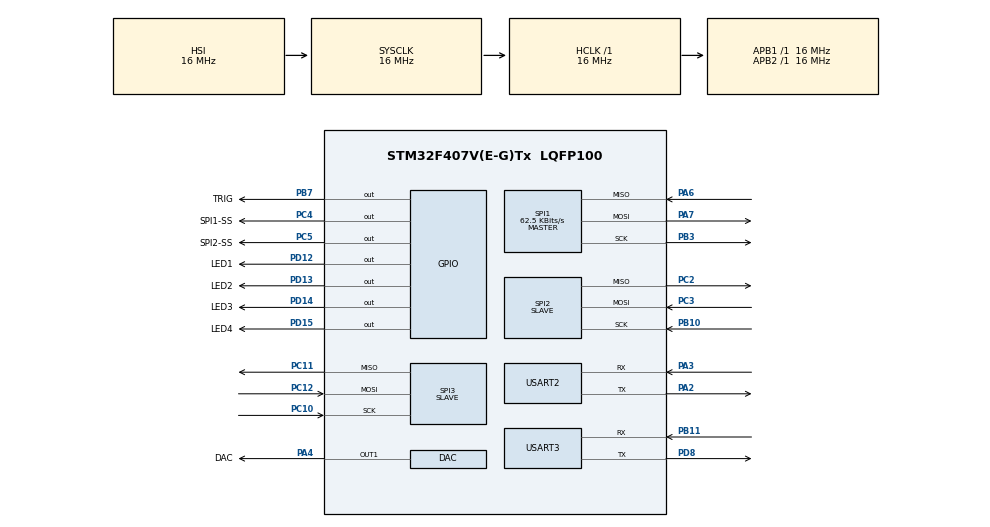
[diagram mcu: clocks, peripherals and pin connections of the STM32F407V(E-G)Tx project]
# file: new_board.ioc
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FREERTOS.Tasks01=defaultTask,0,128,StartDefaultTask,Default,NULL,Dynamic,NULL,NULL;myTask02,-3,128,StartTask02,Default,NULL,Dynamic,NULL,NULL;myTask03,-3,128,StartTask03,Default,NULL,Dynamic,NULL,NULL
Mcu.Family=STM32F4
Mcu.Name=STM32F407V(E-G)Tx
Mcu.Package=LQFP100
NVIC.PriorityGroup=NVIC_PRIORITYGROUP_4
NVIC.TIM1_UP_TIM10_IRQn=true\:0\:0\:false\:false\:true\:false\:false
NVIC.TimeBase=TIM1_UP_TIM10_IRQn
NVIC.TimeBaseIP=TIM1
PA13.Mode=Serial_Wire
PA13.Signal=SYS_JTMS-SWDIO
PA14.Mode=Serial_Wire
PA14.Signal=SYS_JTCK-SWCLK
PA2.Mode=Asynchronous
PA2.Signal=USART2_TX
PA3.Mode=Asynchronous
PA3.Signal=USART2_RX
PA4.GPIO_Label=DAC
PA4.Signal=COMP_DAC1_group
PA6.Mode=Full_Duplex_Master
PA6.Signal=SPI1_MISO
PA7.Mode=Full_Duplex_Master
PA7.Signal=SPI1_MOSI
PB10.Mode=Full_Duplex_Slave
PB10.Signal=SPI2_SCK
PB11.Mode=Asynchronous
PB11.Signal=USART3_RX
PB3.Mode=Full_Duplex_Master
PB3.Signal=SPI1_SCK
PB7.GPIO_Label=TRIG
PB7.GPIO_PuPd=GPIO_PULLUP
PB7.Signal=GPIO_Output
PC10.Mode=Full_Duplex_Slave
PC10.Signal=SPI3_SCK
PC11.Mode=Full_Duplex_Slave
PC11.Signal=SPI3_MISO
PC12.Mode=Full_Duplex_Slave
PC12.Signal=SPI3_MOSI
PC2.Mode=Full_Duplex_Slave
PC2.Signal=SPI2_MISO
PC3.Mode=Full_Duplex_Slave
PC3.Signal=SPI2_MOSI
PC4.GPIO_Label=SPI1-SS
PC4.GPIO_PuPd=GPIO_PULLUP
PC4.GPIO_Speed=GPIO_SPEED_FREQ_HIGH
PC4.Signal=GPIO_Output
PC5.GPIO_Label=SPI2-SS
PC5.GPIO_PuPd=GPIO_PULLUP
PC5.GPIO_Speed=GPIO_SPEED_FREQ_HIGH
PC5.Signal=GPIO_Output
PD12.GPIO_Label=LED1
PD12.GPIO_PuPd=GPIO_NOPULL
PD12.Signal=GPIO_Output
PD13.GPIO_Label=LED2
PD13.GPIO_PuPd=GPIO_PULLUP
PD13.Signal=GPIO_Output
PD14.GPIO_Label=LED3
PD14.GPIO_PuPd=GPIO_NOPULL
PD14.Signal=GPIO_Output
PD15.GPIO_Label=LED4
PD15.GPIO_PuPd=GPIO_NOPULL
PD15.Signal=GPIO_Output
PD8.Mode=Asynchronous
PD8.Signal=USART3_TX
ProjectManager.HeapSize=0x200
ProjectManager.StackSize=0x400
ProjectManager.TargetToolchain=TrueSTUDIO
RCC.AHBFreq_Value=16000000
RCC.APB1Freq_Value=16000000
RCC.APB2Freq_Value=16000000
RCC.CortexFreq_Value=16000000
RCC.HSE_VALUE=25000000
RCC.HSI_VALUE=16000000
RCC.LSE_VALUE=32768
RCC.SYSCLKFreq_VALUE=16000000
RCC.VCOOutputFreq_Value=192000000
SH.COMP_DAC1_group.0=DAC_OUT1,DAC_OUT1
SPI1.BaudRatePrescaler=SPI_BAUDRATEPRESCALER_256
SPI1.CLKPhase=SPI_PHASE_2EDGE
SPI1.CLKPolarity=SPI_POLARITY_HIGH
SPI1.CalculateBaudRate=62.5 KBits/s
SPI1.Direction=SPI_DIRECTION_2LINES
SPI1.Mode=SPI_MODE_MASTER
SPI1.VirtualType=VM_MASTER
SPI2.Direction=SPI_DIRECTION_2LINES
SPI2.Mode=SPI_MODE_SLAVE
SPI2.VirtualType=VM_SLAVE
SPI3.Direction=SPI_DIRECTION_2LINES
SPI3.Mode=SPI_MODE_SLAVE
SPI3.VirtualType=VM_SLAVE
USART2.VirtualMode=VM_ASYNC
USART3.VirtualMode=VM_ASYNC
VP_FREERTOS_VS_ENABLE.Mode=Enabled
VP_SYS_VS_tim1.Mode=TIM1
board=custom

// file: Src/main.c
/* USER CODE BEGIN Header */
/**
  ******************************************************************************
  * @file           : main.c
  * @brief          : Main program body
  ******************************************************************************
  * This notice applies to any and all portions of this file
  * that are not between comment pairs USER CODE BEGIN and
  * USER CODE END. Other portions of this file, whether
  * inserted by the user or by software development tools
  * are owned by their respective copyright owners.
  *
  * Copyright (c) 2022 STMicroelectronics International N.V.
  * All rights reserved.
  *
  * Redistribution and use in source and binary forms, with or without
  * modification, are permitted, provided that the following conditions are met:
  *
  * 1. Redistribution of source code must retain the above copyright notice,
  *    this list of conditions and the following disclaimer.
  * 2. Redistributions in binary form must reproduce the above copyright notice,
  *    this list of conditions and the following disclaimer in the documentation
  *    and/or other materials provided with the distribution.
  * 3. Neither the name of STMicroelectronics nor the names of other
  *    contributors to this software may be used to endorse or promote products
  *    derived from this software without specific written permission.
  * 4. This software, including modifications and/or derivative works of this
  *    software, must execute solely and exclusively on microcontroller or
  *    microprocessor devices manufactured by or for STMicroelectronics.
  * 5. Redistribution and use of this software other than as permitted under
  *    this license is void and will automatically terminate your rights under
  *    this license.
  *
  * THIS SOFTWARE IS PROVIDED BY STMICROELECTRONICS AND CONTRIBUTORS "AS IS"
  * AND ANY EXPRESS, IMPLIED OR STATUTORY WARRANTIES, INCLUDING, BUT NOT
  * LIMITED TO, THE IMPLIED WARRANTIES OF MERCHANTABILITY, FITNESS FOR A
  * PARTICULAR PURPOSE AND NON-INFRINGEMENT OF THIRD PARTY INTELLECTUAL PROPERTY
  * RIGHTS ARE DISCLAIMED TO THE FULLEST EXTENT PERMITTED BY LAW. IN NO EVENT
  * SHALL STMICROELECTRONICS OR CONTRIBUTORS BE LIABLE FOR ANY DIRECT, INDIRECT,
  * INCIDENTAL, SPECIAL, EXEMPLARY, OR CONSEQUENTIAL DAMAGES (INCLUDING, BUT NOT
  * LIMITED TO, PROCUREMENT OF SUBSTITUTE GOODS OR SERVICES; LOSS OF USE, DATA,
  * OR PROFITS; OR BUSINESS INTERRUPTION) HOWEVER CAUSED AND ON ANY THEORY OF
  * LIABILITY, WHETHER IN CONTRACT, STRICT LIABILITY, OR TORT (INCLUDING
  * NEGLIGENCE OR OTHERWISE) ARISING IN ANY WAY OUT OF THE USE OF THIS SOFTWARE,
  * EVEN IF ADVISED OF THE POSSIBILITY OF SUCH DAMAGE.
  *
  ******************************************************************************
  */
/* USER CODE END Header */

#include "main.h"
#include "cmsis_os.h"
#include "dac.h"
#include "spi.h"
#include "usart.h"
#include "gpio.h"

void SystemClock_Config(void);
void MX_FREERTOS_Init(void);

int main(void)
{

  /* MCU Configuration--------------------------------------------------------*/

  /* Reset of all peripherals, Initializes the Flash interface and the Systick. */
  HAL_Init();

  /* Configure the system clock */
  SystemClock_Config();

  /* Initialize all configured peripherals */
  MX_GPIO_Init();
  MX_SPI1_Init();
  MX_DAC_Init();
  MX_USART2_UART_Init();
  MX_SPI2_Init();
  MX_USART3_UART_Init();
  MX_SPI3_Init();

  /* Call init function for freertos objects (in freertos.c) */
  MX_FREERTOS_Init();

  /* Start scheduler */
  osKernelStart();

  /* We should never get here as control is now taken by the scheduler */

  /* Infinite loop */
  while (1)
  {

  }
}

void SystemClock_Config(void)
{
  RCC_OscInitTypeDef RCC_OscInitStruct = {0};
  RCC_ClkInitTypeDef RCC_ClkInitStruct = {0};

  /**Configure the main internal regulator output voltage
  */
  __HAL_RCC_PWR_CLK_ENABLE();
  __HAL_PWR_VOLTAGESCALING_CONFIG(PWR_REGULATOR_VOLTAGE_SCALE1);
  /**Initializes the CPU, AHB and APB busses clocks
  */
  RCC_OscInitStruct.OscillatorType = RCC_OSCILLATORTYPE_HSI;
  RCC_OscInitStruct.HSIState = RCC_HSI_ON;
  RCC_OscInitStruct.HSICalibrationValue = RCC_HSICALIBRATION_DEFAULT;
  RCC_OscInitStruct.PLL.PLLState = RCC_PLL_NONE;
  if (HAL_RCC_OscConfig(&RCC_OscInitStruct) != HAL_OK)
  {
    Error_Handler();
  }
  /**Initializes the CPU, AHB and APB busses clocks
  */
  RCC_ClkInitStruct.ClockType = RCC_CLOCKTYPE_HCLK|RCC_CLOCKTYPE_SYSCLK
                              |RCC_CLOCKTYPE_PCLK1|RCC_CLOCKTYPE_PCLK2;
  RCC_ClkInitStruct.SYSCLKSource = RCC_SYSCLKSOURCE_HSI;
  RCC_ClkInitStruct.AHBCLKDivider = RCC_SYSCLK_DIV1;
  RCC_ClkInitStruct.APB1CLKDivider = RCC_HCLK_DIV1;
  RCC_ClkInitStruct.APB2CLKDivider = RCC_HCLK_DIV1;

  if (HAL_RCC_ClockConfig(&RCC_ClkInitStruct, FLASH_LATENCY_0) != HAL_OK)
  {
    Error_Handler();
  }
}

void HAL_TIM_PeriodElapsedCallback(TIM_HandleTypeDef *htim)
{
  if (htim->Instance == TIM1) {
    HAL_IncTick();
  }
}

void Error_Handler(void)
{
}

/************************ (C) COPYRIGHT STMicroelectronics *****END OF FILE****/

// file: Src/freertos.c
/* USER CODE BEGIN Header */
/**
  ******************************************************************************
  * File Name          : freertos.c
  * Description        : Code for freertos applications
  ******************************************************************************
  * This notice applies to any and all portions of this file
  * that are not between comment pairs USER CODE BEGIN and
  * USER CODE END. Other portions of this file, whether
  * inserted by the user or by software development tools
  * are owned by their respective copyright owners.
  *
  * Copyright (c) 2022 STMicroelectronics International N.V.
  * All rights reserved.
  *
  * Redistribution and use in source and binary forms, with or without
  * modification, are permitted, provided that the following conditions are met:
  *
  * 1. Redistribution of source code must retain the above copyright notice,
  *    this list of conditions and the following disclaimer.
  * 2. Redistributions in binary form must reproduce the above copyright notice,
  *    this list of conditions and the following disclaimer in the documentation
  *    and/or other materials provided with the distribution.
  * 3. Neither the name of STMicroelectronics nor the names of other
  *    contributors to this software may be used to endorse or promote products
  *    derived from this software without specific written permission.
  * 4. This software, including modifications and/or derivative works of this
  *    software, must execute solely and exclusively on microcontroller or
  *    microprocessor devices manufactured by or for STMicroelectronics.
  * 5. Redistribution and use of this software other than as permitted under
  *    this license is void and will automatically terminate your rights under
  *    this license.
  *
  * THIS SOFTWARE IS PROVIDED BY STMICROELECTRONICS AND CONTRIBUTORS "AS IS"
  * AND ANY EXPRESS, IMPLIED OR STATUTORY WARRANTIES, INCLUDING, BUT NOT
  * LIMITED TO, THE IMPLIED WARRANTIES OF MERCHANTABILITY, FITNESS FOR A
  * PARTICULAR PURPOSE AND NON-INFRINGEMENT OF THIRD PARTY INTELLECTUAL PROPERTY
  * RIGHTS ARE DISCLAIMED TO THE FULLEST EXTENT PERMITTED BY LAW. IN NO EVENT
  * SHALL STMICROELECTRONICS OR CONTRIBUTORS BE LIABLE FOR ANY DIRECT, INDIRECT,
  * INCIDENTAL, SPECIAL, EXEMPLARY, OR CONSEQUENTIAL DAMAGES (INCLUDING, BUT NOT
  * LIMITED TO, PROCUREMENT OF SUBSTITUTE GOODS OR SERVICES; LOSS OF USE, DATA,
  * OR PROFITS; OR BUSINESS INTERRUPTION) HOWEVER CAUSED AND ON ANY THEORY OF
  * LIABILITY, WHETHER IN CONTRACT, STRICT LIABILITY, OR TORT (INCLUDING
  * NEGLIGENCE OR OTHERWISE) ARISING IN ANY WAY OUT OF THE USE OF THIS SOFTWARE,
  * EVEN IF ADVISED OF THE POSSIBILITY OF SUCH DAMAGE.
  *
  ******************************************************************************
  */
/* USER CODE END Header */

#include "FreeRTOS.h"
#include "task.h"
#include "main.h"
#include "cmsis_os.h"

/* USER CODE BEGIN Includes */
#include "spi.h"
#include "usart.h"
/* USER CODE END Includes */

/* USER CODE BEGIN Variables */
#define DATA_SIZE 500
static 	uint8_t data[DATA_SIZE];
static 	uint8_t rdata[DATA_SIZE];

/* USER CODE END Variables */
osThreadId defaultTaskHandle;
osThreadId myTask02Handle;
osThreadId myTask03Handle;

void StartDefaultTask(void const * argument);
void StartTask02(void const * argument);
void StartTask03(void const * argument);

void MX_FREERTOS_Init(void); /* (MISRA C 2004 rule 8.1) */

void MX_FREERTOS_Init(void) {

  /* Create the thread(s) */
  /* definition and creation of defaultTask */
//  osThreadDef(defaultTask, StartDefaultTask, osPriorityNormal, 0, 128);
//  defaultTaskHandle = osThreadCreate(osThread(defaultTask), NULL);

  /* definition and creation of myTask02 */
  osThreadDef(myTask02, StartTask02, osPriorityIdle, 0, 128);
  myTask02Handle = osThreadCreate(osThread(myTask02), NULL);

  /* definition and creation of myTask03 */
//  osThreadDef(myTask03, StartTask03, osPriorityIdle, 0, 128);
//  myTask03Handle = osThreadCreate(osThread(myTask03), NULL);

}

void StartDefaultTask(void const * argument)
{

  /* USER CODE BEGIN StartDefaultTask */
/*
	MOSI	PA7
	SS		PC4
	SCLK	PB3
	TRIG	PB7
*/

	uint8_t *pData = data;
	uint16_t Size = DATA_SIZE;
	int ctr = 0;
	int i;
	uint8_t xbyte = 0x21;
	int menu_ptr = 0;
	uint32_t error = 0;

	HAL_StatusTypeDef ret;

	for(i = 0;i < DATA_SIZE/2;i++)
	{
		data[i] = xbyte;
		if(++xbyte > 0x7f)
			xbyte = 0x1f;
	}
	xbyte = 0x7f;
	for(i = DATA_SIZE/2;i < DATA_SIZE;i++)
	{
		data[i] = xbyte;
		if(--xbyte < 0x1f)
			xbyte = 0x7f;
	}
	/* Infinite loop */

	for(;;)
	{
		ret = HAL_SPI_TransmitReceive(&hspi2, &data[0], &rdata[0], Size, 2000);
		vTaskDelay(1);
		ret = HAL_UART_Transmit(&huart2, &rdata[0], Size, 100);
		vTaskDelay(1);
/*
		xbyte = '\r';
		HAL_UART_Transmit(&huart2, &xbyte, 1, 100);
		xbyte = '\n';
		HAL_UART_Transmit(&huart2, &xbyte, 1, 100);

		vTaskDelay(1);
		if(menu_ptr == 0)
		{
			HAL_GPIO_WritePin(GPIOD, LED1_Pin, GPIO_PIN_RESET);
			HAL_GPIO_WritePin(GPIOD, LED2_Pin, GPIO_PIN_SET);
			menu_ptr = 1;
		}else if(menu_ptr == 1)
		{
			HAL_GPIO_WritePin(GPIOD, LED2_Pin, GPIO_PIN_RESET);
			HAL_GPIO_WritePin(GPIOD, LED3_Pin, GPIO_PIN_SET);
			menu_ptr = 2;
		}else if(menu_ptr == 2)
		{
			HAL_GPIO_WritePin(GPIOD, LED3_Pin, GPIO_PIN_RESET);
			HAL_GPIO_WritePin(GPIOD, LED4_Pin, GPIO_PIN_SET);
			menu_ptr = 3;
		}else if(menu_ptr == 3)
		{
			HAL_GPIO_WritePin(GPIOD, LED4_Pin, GPIO_PIN_RESET);
			HAL_GPIO_WritePin(GPIOD, LED1_Pin, GPIO_PIN_SET);
			menu_ptr = 0;
		}
*/
	}
  /* USER CODE END StartDefaultTask */
}

void StartTask02(void const * argument)
{
  /* USER CODE BEGIN StartTask02 */
  /* Infinite loop */
	HAL_StatusTypeDef ret;
	int i,j;
	uint8_t *pData;
	uint16_t Size;
	int menu_ptr = 0;
	uint8_t xbyte = 0x21;

	for(i = 0;i < DATA_SIZE;i++)
	{
		data[i] = xbyte;
//		if(++xbyte > 0x7f)
//			xbyte = 0x1f;
	}

	pData = &data[0];
	Size = DATA_SIZE;
	vTaskDelay(1000);
	for(;;)
	{
		ret = HAL_UART_Receive(&huart3, pData, Size, 500);
		vTaskDelay(1);
		ret = HAL_UART_Transmit(&huart2, pData, Size, 100);
		vTaskDelay(1);

		if(menu_ptr == 0)
		{
			HAL_GPIO_WritePin(GPIOD, LED1_Pin, GPIO_PIN_RESET);
			HAL_GPIO_WritePin(GPIOD, LED2_Pin, GPIO_PIN_SET);
			menu_ptr = 1;
		}else if(menu_ptr == 1)
		{
			HAL_GPIO_WritePin(GPIOD, LED2_Pin, GPIO_PIN_RESET);
			HAL_GPIO_WritePin(GPIOD, LED3_Pin, GPIO_PIN_SET);
			menu_ptr = 2;
		}else if(menu_ptr == 2)
		{
			HAL_GPIO_WritePin(GPIOD, LED3_Pin, GPIO_PIN_RESET);
			HAL_GPIO_WritePin(GPIOD, LED4_Pin, GPIO_PIN_SET);
			menu_ptr = 3;
		}else if(menu_ptr == 3)
		{
			HAL_GPIO_WritePin(GPIOD, LED4_Pin, GPIO_PIN_RESET);
			HAL_GPIO_WritePin(GPIOD, LED1_Pin, GPIO_PIN_SET);
			menu_ptr = 0;
		}
	}
  /* USER CODE END StartTask02 */
}

void StartTask03(void const * argument)
{
  /* USER CODE BEGIN StartTask03 */
  /* Infinite loop */
	uint8_t *pData = data;
//	uint16_t Size = DATA_SIZE/100;
	uint16_t Size = 50;
	int ctr = 0;
	int i;
	uint8_t xbyte = 0x21;
	int menu_ptr = 0;
	uint32_t error = 0;

	HAL_StatusTypeDef ret;

	/* Infinite loop */

	for(i = 0;i < DATA_SIZE/2;i++)
	{
		data[i] = xbyte;
		if(++xbyte > 0x7f)
			xbyte = 0x1f;
	}
	xbyte = 0x7f;
	for(i = DATA_SIZE/2;i < DATA_SIZE;i++)
	{
		data[i] = xbyte;
		if(--xbyte < 0x1f)
			xbyte = 0x7f;
	}

	for(;;)
	{
		ret = HAL_SPI_TransmitReceive(&hspi2, &data[0], &rdata[0], Size, 2000);
		vTaskDelay(1);
//		ret = HAL_UART_Transmit(&huart2, &rdata[0], Size, 100);
		vTaskDelay(1);
		for(i = 0;i < 50;i++)
			rdata[i] = 0;
/*
		xbyte = '\r';
		HAL_UART_Transmit(&huart2, &xbyte, 1, 100);
		xbyte = '\n';
		HAL_UART_Transmit(&huart2, &xbyte, 1, 100);
*/
		vTaskDelay(1);
		if(menu_ptr == 0)
		{
			HAL_GPIO_WritePin(GPIOD, LED1_Pin, GPIO_PIN_RESET);
			HAL_GPIO_WritePin(GPIOD, LED2_Pin, GPIO_PIN_SET);
			menu_ptr = 1;
		}else if(menu_ptr == 1)
		{
			HAL_GPIO_WritePin(GPIOD, LED2_Pin, GPIO_PIN_RESET);
			HAL_GPIO_WritePin(GPIOD, LED3_Pin, GPIO_PIN_SET);
			menu_ptr = 2;
		}else if(menu_ptr == 2)
		{
			HAL_GPIO_WritePin(GPIOD, LED3_Pin, GPIO_PIN_RESET);
			HAL_GPIO_WritePin(GPIOD, LED4_Pin, GPIO_PIN_SET);
			menu_ptr = 3;
		}else if(menu_ptr == 3)
		{
			HAL_GPIO_WritePin(GPIOD, LED4_Pin, GPIO_PIN_RESET);
			HAL_GPIO_WritePin(GPIOD, LED1_Pin, GPIO_PIN_SET);
			menu_ptr = 0;
		}
	}
  /* USER CODE END StartTask03 */
}

/************************ (C) COPYRIGHT STMicroelectronics *****END OF FILE****/
